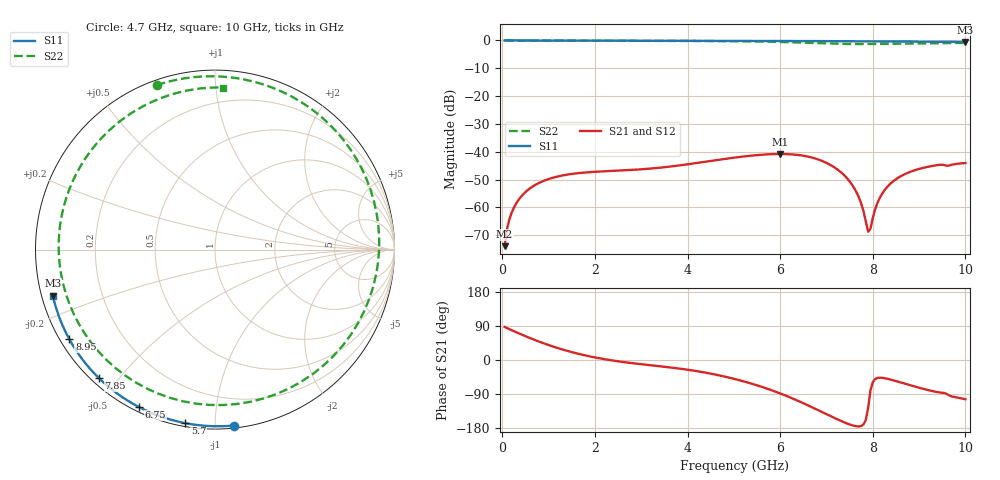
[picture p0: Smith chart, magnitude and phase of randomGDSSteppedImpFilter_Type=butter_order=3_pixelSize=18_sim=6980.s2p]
! freq	dB(S11)	phase(S11)	dB(S12)	phase(S12)
!  dB(S21)	phase(S21)	dB(S22)	phase(S22)
!S-par simulation data
#  GHz  S  DB  R 50
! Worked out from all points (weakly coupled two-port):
!   200 points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, 50 MHz to 10 GHz, reference 50 ohm
!   highest |S21| = -40.80 dB at 6 GHz (marker M1); lowest = -73.9 dB at 50 MHz (marker M2)
!   lowest |S11| = -0.5 dB at 10 GHz (marker M3), VSWR 31.82, Z = 1.6 - j6.94 ohm
!   |S11| at or under -10 dB: nowhere
!   |S22| runs from -1.3 to 0.0 dB; largest |S21 - S12| = 0
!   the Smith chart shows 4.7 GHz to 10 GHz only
!   S11 on the Smith chart (normalised r, x): 4.7 GHz: 0.02, -1.11; 5.7 GHz: 0.02, -0.84; 6.75 GHz: 0.02, -0.63; 7.85 GHz: 0.02, -0.44; 8.95 GHz: 0.03, -0.28; 10 GHz: 0.03, -0.14
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0.05  -0.00 -1.0  -73.93 87.2  -73.93 87.2  -0.00 -4.7
0.2  -0.01 -3.8  -61.99 78.8  -61.99 78.8  -0.03 -18.5
0.5  -0.01 -9.5  -54.49 62.8  -54.49 62.8  -0.06 -45.0
1.05  -0.03 -19.9  -49.53 37.3  -49.53 37.3  -0.09 -87.4
1.75  -0.04 -32.9  -47.51 13.3  -47.51 13.3  -0.11 -129.0
2.55  -0.06 -47.3  -46.74 -4.3  -46.74 -4.3  -0.13 -165.5
3.4  -0.08 -62.2  -45.73 -16.5  -45.73 -16.5  -0.15 161.5
4.7  -0.12 -83.9  -42.82 -41.0  -42.82 -41.0  -0.24 109.5
5.05  -0.14 -89.5  -42.03 -51.1  -42.03 -51.1  -0.29 93.1
5.7  -0.17 -99.8  -40.96 -74.8  -40.96 -74.8  -0.44 56.7
6  -0.18 -104.4  -40.80 -88.2  -40.80 -88.2  -0.55 36.4
6.7  -0.23 -115.0  -42.14 -125.3  -42.14 -125.3  -0.92 -22.5
6.75  -0.23 -115.8  -42.38 -128.2  -42.38 -128.2  -0.95 -27.3
7.15  -0.26 -121.8  -45.37 -151.7  -45.37 -151.7  -1.17 -67.0
7.5  -0.28 -126.9  -50.64 -170.1  -50.64 -170.1  -1.27 -101.9
7.7  -0.30 -129.9  -56.39 -175.3  -56.39 -175.3  -1.29 -120.9
7.85  -0.31 -132.1  -65.04 -158.2  -65.04 -158.2  -1.29 -134.5
7.95  -0.32 -133.6  -67.63 -80.3  -67.63 -80.3  -1.28 -143.2
8.1  -0.33 -135.8  -58.43 -47.4  -58.43 -47.4  -1.26 -155.6
8.35  -0.36 -139.5  -51.97 -50.5  -51.97 -50.5  -1.21 -174.9
8.95  -0.42 -148.4  -46.41 -71.5  -46.41 -71.5  -1.08 144.9
10  -0.55 -164.2  -44.06 -103.5  -44.06 -103.5  -0.88 87.3
